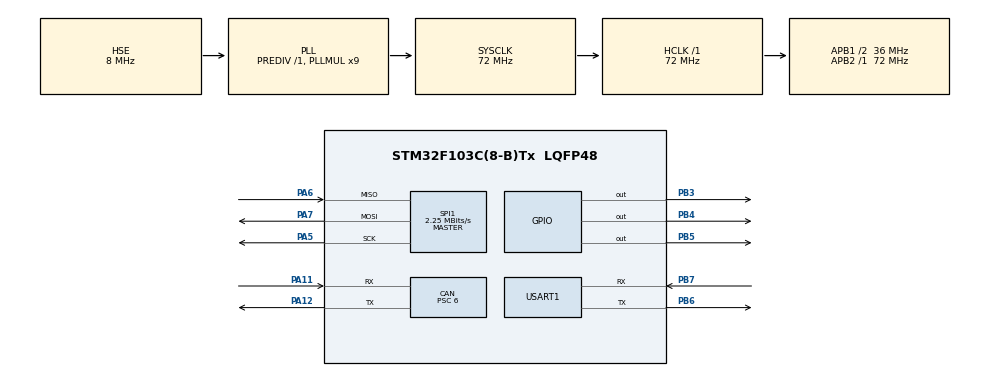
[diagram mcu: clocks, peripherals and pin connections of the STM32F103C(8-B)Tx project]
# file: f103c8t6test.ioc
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CAN.BS1=CAN_BS1_4TQ
CAN.CalculateBaudRate=999999
CAN.CalculateTimeBit=1000
CAN.CalculateTimeQuantum=166.66666666666669
CAN.Prescaler=6
Dma.Request0=USART1_RX
Dma.Request1=SPI1_RX
Dma.Request2=SPI1_TX
Dma.SPI1_RX.1.Direction=DMA_PERIPH_TO_MEMORY
Dma.SPI1_RX.1.Instance=DMA1_Channel2
Dma.SPI1_RX.1.MemDataAlignment=DMA_MDATAALIGN_BYTE
Dma.SPI1_RX.1.MemInc=DMA_MINC_ENABLE
Dma.SPI1_RX.1.Mode=DMA_NORMAL
Dma.SPI1_RX.1.PeriphDataAlignment=DMA_PDATAALIGN_BYTE
Dma.SPI1_RX.1.PeriphInc=DMA_PINC_DISABLE
Dma.SPI1_RX.1.Priority=DMA_PRIORITY_LOW
Dma.SPI1_TX.2.Direction=DMA_MEMORY_TO_PERIPH
Dma.SPI1_TX.2.Instance=DMA1_Channel3
Dma.SPI1_TX.2.MemDataAlignment=DMA_MDATAALIGN_BYTE
Dma.SPI1_TX.2.MemInc=DMA_MINC_ENABLE
Dma.SPI1_TX.2.Mode=DMA_NORMAL
Dma.SPI1_TX.2.PeriphDataAlignment=DMA_PDATAALIGN_BYTE
Dma.SPI1_TX.2.PeriphInc=DMA_PINC_DISABLE
Dma.SPI1_TX.2.Priority=DMA_PRIORITY_MEDIUM
Dma.USART1_RX.0.Direction=DMA_PERIPH_TO_MEMORY
Dma.USART1_RX.0.Instance=DMA1_Channel5
Dma.USART1_RX.0.MemDataAlignment=DMA_MDATAALIGN_BYTE
Dma.USART1_RX.0.MemInc=DMA_MINC_ENABLE
Dma.USART1_RX.0.Mode=DMA_CIRCULAR
Dma.USART1_RX.0.PeriphDataAlignment=DMA_PDATAALIGN_BYTE
Dma.USART1_RX.0.PeriphInc=DMA_PINC_DISABLE
Dma.USART1_RX.0.Priority=DMA_PRIORITY_VERY_HIGH
Mcu.Family=STM32F1
Mcu.Name=STM32F103C(8-B)Tx
Mcu.Package=LQFP48
NVIC.DMA1_Channel2_IRQn=true\:2\:0\:true\:false\:true\:false\:true\:true
NVIC.DMA1_Channel3_IRQn=true\:3\:0\:true\:false\:true\:false\:true\:true
NVIC.DMA1_Channel5_IRQn=true\:0\:0\:false\:false\:true\:false\:true\:true
NVIC.PriorityGroup=NVIC_PRIORITYGROUP_4
NVIC.TIM2_IRQn=true\:0\:0\:false\:false\:true\:true\:true\:true
NVIC.TIM3_IRQn=true\:10\:0\:true\:false\:true\:true\:true\:true
NVIC.USB_LP_CAN1_RX0_IRQn=true\:0\:0\:false\:false\:true\:true\:true\:true
PA11.Mode=CAN_Activate
PA11.Signal=CAN_RX
PA12.Mode=CAN_Activate
PA12.Signal=CAN_TX
PA13.Mode=Serial_Wire
PA13.Signal=SYS_JTMS-SWDIO
PA14.Mode=Serial_Wire
PA14.Signal=SYS_JTCK-SWCLK
PA5.Mode=Full_Duplex_Master
PA5.Signal=SPI1_SCK
PA6.Mode=Full_Duplex_Master
PA6.Signal=SPI1_MISO
PA7.Mode=Full_Duplex_Master
PA7.Signal=SPI1_MOSI
PB3.GPIO_PuPd=GPIO_PULLUP
PB3.PinState=GPIO_PIN_SET
PB3.Signal=GPIO_Output
PB4.GPIO_PuPd=GPIO_PULLUP
PB4.PinState=GPIO_PIN_SET
PB4.Signal=GPIO_Output
PB5.GPIO_PuPd=GPIO_PULLUP
PB5.PinState=GPIO_PIN_SET
PB5.Signal=GPIO_Output
PB6.Mode=Asynchronous
PB6.Signal=USART1_TX
PB7.GPIO_PuPd=GPIO_PULLUP
PB7.Mode=Asynchronous
PB7.Signal=USART1_RX
PD0-OSC_IN.Mode=HSE-External-Oscillator
PD0-OSC_IN.Signal=RCC_OSC_IN
PD1-OSC_OUT.Mode=HSE-External-Oscillator
PD1-OSC_OUT.Signal=RCC_OSC_OUT
ProjectManager.HeapSize=0x200
ProjectManager.StackSize=0x400
ProjectManager.TargetToolchain=MDK-ARM V5.32
RCC.AHBFreq_Value=72000000
RCC.APB1CLKDivider=RCC_HCLK_DIV2
RCC.APB1Freq_Value=36000000
RCC.APB1TimFreq_Value=72000000
RCC.APB2Freq_Value=72000000
RCC.APB2TimFreq_Value=72000000
RCC.HCLKFreq_Value=72000000
RCC.PLLMUL=RCC_PLL_MUL9
RCC.PLLSourceVirtual=RCC_PLLSOURCE_HSE
RCC.SYSCLKFreq_VALUE=72000000
RCC.SYSCLKSource=RCC_SYSCLKSOURCE_PLLCLK
RCC.USBFreq_Value=72000000
SPI1.BaudRatePrescaler=SPI_BAUDRATEPRESCALER_32
SPI1.CalculateBaudRate=2.25 MBits/s
SPI1.Direction=SPI_DIRECTION_2LINES
SPI1.Mode=SPI_MODE_MASTER
SPI1.VirtualType=VM_MASTER
TIM2.Period=1000
TIM2.Prescaler=72
TIM3.Period=9999
TIM3.Prescaler=71
USART1.VirtualMode=VM_ASYNC
VP_TIM2_VS_ClockSourceINT.Mode=Internal
VP_TIM3_VS_ClockSourceINT.Mode=Internal
board=custom

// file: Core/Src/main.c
/* USER CODE BEGIN Header */
/**
  ******************************************************************************
  * @file           : main.c
  * @brief          : Main program body
  ******************************************************************************
  * @attention
  *
  * Copyright (c) 2022 STMicroelectronics.
  * All rights reserved.
  *
  * This software is licensed under terms that can be found in the LICENSE file
  * in the root directory of this software component.
  * If no LICENSE file comes with this software, it is provided AS-IS.
  *
  ******************************************************************************
  */
/* USER CODE END Header */
#include "main.h"
#include "can.h"
#include "dma.h"
#include "spi.h"
#include "tim.h"
#include "usart.h"
#include "gpio.h"

/* USER CODE BEGIN PV */

	uint8_t Uart_data[1024];

	uint8_t Uart_f401_data[50];

	extern uint8_t Uart_data_rec[50];

	/*
	f103通过SPI向F401发送当前的功率限制信息，共8个字节的信息，解析协议如下
	Byte0：0x5A
	Byte1：0xA5

	Byte2 ~ Byte5：表示float类型的4个字节

	Byte6：sum_data      sum_data=Byte2|Byte3|Byte4|Byte5
	Byte7：0xAA

	f401通过SPI向F103发送当前的电容电压信息，共8个字节的信息，解析协议如下
	Byte0：0xA5
	Byte1：uint8_t_(data_plimit_float+0.5f)   即f401会将上次接收到的功率限制信息回传，以便f103进行传输数据的校验

	Byte2 ~ Byte5：表示float类型的4个字节

	Byte6：sum_data      sum_data=Byte2|Byte3|Byte4|Byte5|Byte1
	Byte7：0x5A

	*/

	//SPI的通信频率为2.25Mbit/s，每10ms f103和f401进行一次数据交换，每次数据交换（双工通信）8个Byte
	uint8_t SPI_to_401_Plimit[8];//通过DMA向f401发送功率限制的原始数据
	uint8_t SPI_from_401_Vcap[8];//DMA接收到的来自f401的原始数据
	float TX_Plimit = 40.0f;//通过DMA向f401发送功率限制的真实数据，初始值40W
	float RX_Vcap = 24.0f;//DMA接收到的来自f401的真实数据，初始值24V
	f2byte SPI_TXdata;
	f2byte SPI_RXdata;

extern float PLIMIT_TEST;

/* USER CODE END PV */

void SystemClock_Config(void);

int main(void)
{

  /* MCU Configuration--------------------------------------------------------*/

  /* Reset of all peripherals, Initializes the Flash interface and the Systick. */
  HAL_Init();

  /* Configure the system clock */
  SystemClock_Config();

  /* Initialize all configured peripherals */
  MX_GPIO_Init();
  MX_DMA_Init();
  MX_SPI1_Init();
  MX_USART1_UART_Init();
  MX_TIM3_Init();
  MX_CAN_Init();
  MX_TIM2_Init();
  /* USER CODE BEGIN 2 */
//	HAL_UART_Receive_DMA(&huart1, Uart_data, 1024);

	HAL_TIM_Base_Start_IT(&htim3);//开启定时器3

	SPI_to_401_Plimit[0]=0xA5;

	CANFilter_Config();
  CAN_Start_Init();
	HAL_TIM_Base_Start_IT(&htim2);

	HAL_Delay(2000);
//	HAL_UART_Receive_DMA(&huart1, Uart_f401_data, 20);
	HAL_UART_Receive_IT(&huart1, Uart_data_rec, 1);

  /* USER CODE END 2 */

  /* Infinite loop */
  /* USER CODE BEGIN WHILE */
  while (1)
  {

//		PLIMIT_TEST = 30;
//
//		HAL_Delay(3000);
//
//		PLIMIT_TEST = 20;
//
//		HAL_Delay(3000);

    /* USER CODE END WHILE */

    /* USER CODE BEGIN 3 */
//		HAL_GPIO_TogglePin(GPIOB,GPIO_PIN_3);
//		HAL_GPIO_TogglePin(GPIOB,GPIO_PIN_4);
//		HAL_GPIO_TogglePin(GPIOB,GPIO_PIN_5);
//		HAL_Delay(5000);//用于代码测试，测试动态改变功率参考值的情况
//		TX_Plimit= 40;
//		HAL_Delay(5000);
//		TX_Plimit= 20;

  }
  /* USER CODE END 3 */
}

void SystemClock_Config(void)
{
  RCC_OscInitTypeDef RCC_OscInitStruct = {0};
  RCC_ClkInitTypeDef RCC_ClkInitStruct = {0};

  /** Initializes the RCC Oscillators according to the specified parameters
  * in the RCC_OscInitTypeDef structure.
  */
  RCC_OscInitStruct.OscillatorType = RCC_OSCILLATORTYPE_HSE;
  RCC_OscInitStruct.HSEState = RCC_HSE_ON;
  RCC_OscInitStruct.HSEPredivValue = RCC_HSE_PREDIV_DIV1;
  RCC_OscInitStruct.HSIState = RCC_HSI_ON;
  RCC_OscInitStruct.PLL.PLLState = RCC_PLL_ON;
  RCC_OscInitStruct.PLL.PLLSource = RCC_PLLSOURCE_HSE;
  RCC_OscInitStruct.PLL.PLLMUL = RCC_PLL_MUL9;
  if (HAL_RCC_OscConfig(&RCC_OscInitStruct) != HAL_OK)
  {
    Error_Handler();
  }

  /** Initializes the CPU, AHB and APB buses clocks
  */
  RCC_ClkInitStruct.ClockType = RCC_CLOCKTYPE_HCLK|RCC_CLOCKTYPE_SYSCLK
                              |RCC_CLOCKTYPE_PCLK1|RCC_CLOCKTYPE_PCLK2;
  RCC_ClkInitStruct.SYSCLKSource = RCC_SYSCLKSOURCE_PLLCLK;
  RCC_ClkInitStruct.AHBCLKDivider = RCC_SYSCLK_DIV1;
  RCC_ClkInitStruct.APB1CLKDivider = RCC_HCLK_DIV2;
  RCC_ClkInitStruct.APB2CLKDivider = RCC_HCLK_DIV1;

  if (HAL_RCC_ClockConfig(&RCC_ClkInitStruct, FLASH_LATENCY_2) != HAL_OK)
  {
    Error_Handler();
  }
}

void Error_Handler(void)
{
  __disable_irq();
  while (1)
  {
  }
}
